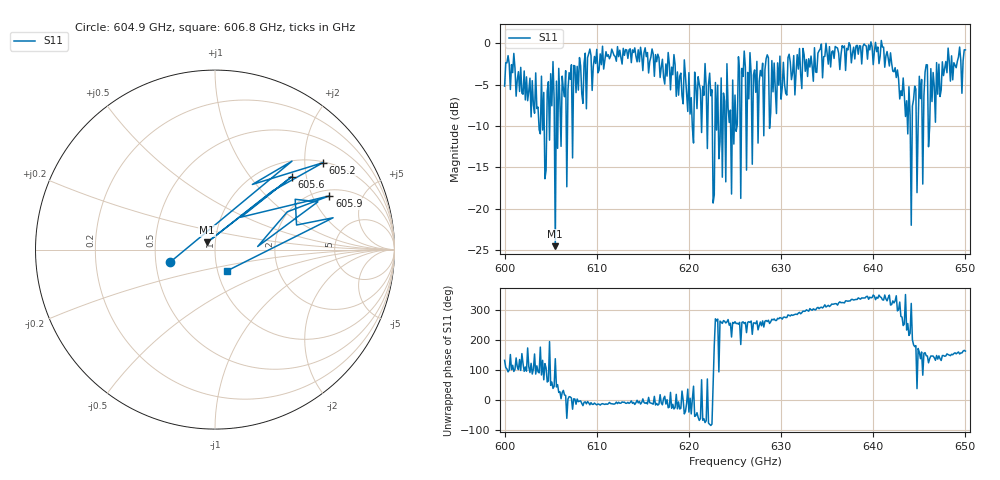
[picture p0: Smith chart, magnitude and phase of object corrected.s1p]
!Created with skrf (http://scikit-rf.org).
# GHz S MA R 50.0
!freq magS11 angS11
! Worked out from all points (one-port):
!   401 points, 600 GHz to 650 GHz, reference 50 ohm
!   lowest |S11| = -24.5 dB at 605.5 GHz (marker M1), VSWR 1.13, Z = 45.6 + j3.63 ohm
!   |S11| at or under -10 dB: 603.7292 GHz to 603.892 GHz (162.8 MHz wide, 0.027 % of centre); 604.2986 GHz to 604.57 GHz (271.4 MHz wide, 0.0449 % of centre); 620.368 GHz to 620.53 GHz (162 MHz wide, 0.0261 % of centre) (the widest 3 of 31)
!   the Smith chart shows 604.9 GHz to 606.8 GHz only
!   S11 on the Smith chart (normalised r, x): 604.9 GHz: 0.59, -0.09; 605.2 GHz: 1.02, +2.47; 605.6 GHz: 1.32, +1.65; 605.9 GHz: 2.28, +2.71; 606.8 GHz: 1.10, -0.27
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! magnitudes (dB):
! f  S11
! 600 GHz  -5.2
! 603.2 GHz  -8.5
! 604.4 GHz  -16.4
! 604.9 GHz  -11.7
! 605.2 GHz  -2.2
! 605.5 GHz  -24.5
! 605.6 GHz  -4.6
! 605.9 GHz  -3.0
! 606.2 GHz  -4.0
! 606.8 GHz  -17.3
! 609.2 GHz  -0.7
! 612.5 GHz  -0.9
! 618.8 GHz  -3.5
! 619.8 GHz  -6.2
! 620.2 GHz  -6.6
! 620.9 GHz  -7.9
! 622 GHz  -12.7
! 622.8 GHz  -18.3
! 625 GHz  -6.3
! 626 GHz  -1.0
! 631.2 GHz  -3.6
! 637.5 GHz  -0.3
! 641.1 GHz  -0.5
! 643.8 GHz  -11.0
! 644 GHz  -8.8
! 645.8 GHz  -2.6
! 646.2 GHz  -3.1
! 650 GHz  -0.8
